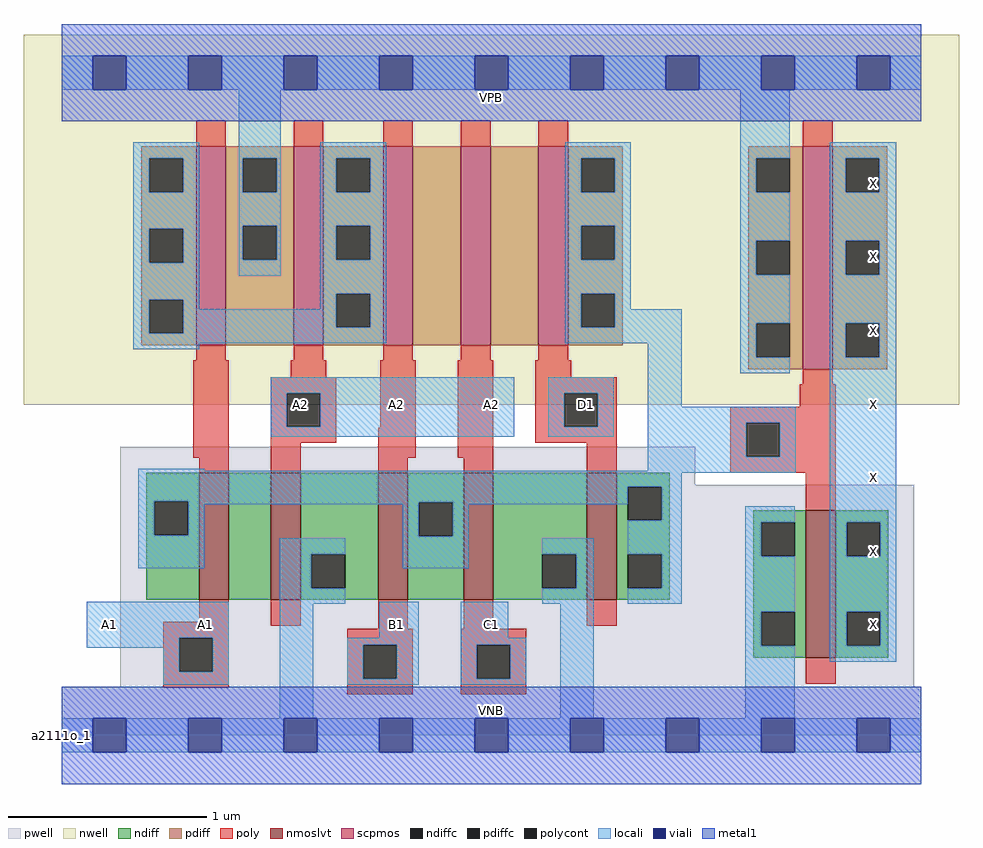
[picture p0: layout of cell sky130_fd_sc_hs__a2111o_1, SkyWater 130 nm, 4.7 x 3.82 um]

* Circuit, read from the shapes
.subckt sky130_fd_sc_hs__a2111o_1 A1 A2 B1 C1 D1 VGND VNB VPB VPWR X
XM1 n1 A1 n2 VNB sky130_fd_pr__nfet_01v8_lvt w=0.64 l=0.15
XM2 VGND A2 n1 VNB sky130_fd_pr__nfet_01v8_lvt w=0.64 l=0.15
XM3 n2 B1 VGND VNB sky130_fd_pr__nfet_01v8_lvt w=0.64 l=0.15
XM4 VGND C1 n2 VNB sky130_fd_pr__nfet_01v8_lvt w=0.64 l=0.15
XM5 n2 D1 VGND VNB sky130_fd_pr__nfet_01v8_lvt w=0.64 l=0.15
XM6 X n2 VGND VNB sky130_fd_pr__nfet_01v8_lvt w=0.74 l=0.15
XM7 VPWR A1 n3 VPB sky130_fd_pr__pfet_01v8 w=1 l=0.15
XM8 n3 A2 VPWR VPB sky130_fd_pr__pfet_01v8 w=1 l=0.15
XM9 n4 B1 n3 VPB sky130_fd_pr__pfet_01v8 w=1 l=0.15
XM10 n5 C1 n4 VPB sky130_fd_pr__pfet_01v8 w=1 l=0.15
XM11 n2 D1 n5 VPB sky130_fd_pr__pfet_01v8 w=1 l=0.15
XM12 X n2 VPWR VPB sky130_fd_pr__pfet_01v8 w=1.12 l=0.15
.ends

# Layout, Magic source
magic
tech sky130A
magscale 1 2
<< nwell >>
rect -38 332 902 704
<< pwell >>
rect 59 252 637 290
rect 59 49 857 252
rect 0 0 864 49
<< scpmos >>
rect 135 392 165 592
rect 233 392 263 592
rect 323 392 353 592
rect 401 392 431 592
rect 479 392 509 592
rect 745 368 775 592
<< nmoslvt >>
rect 138 136 168 264
rect 210 136 240 264
rect 318 136 348 264
rect 404 136 434 264
rect 528 136 558 264
rect 748 78 778 226
<< ndiff >>
rect 85 235 138 264
rect 85 201 93 235
rect 127 201 138 235
rect 85 136 138 201
rect 168 136 210 264
rect 240 182 318 264
rect 240 148 251 182
rect 285 148 318 182
rect 240 136 318 148
rect 348 234 404 264
rect 348 200 359 234
rect 393 200 404 234
rect 348 136 404 200
rect 434 182 528 264
rect 434 148 483 182
rect 517 148 528 182
rect 434 136 528 148
rect 558 250 611 264
rect 558 216 569 250
rect 603 216 611 250
rect 558 182 611 216
rect 558 148 569 182
rect 603 148 611 182
rect 558 136 611 148
rect 695 214 748 226
rect 695 180 703 214
rect 737 180 748 214
rect 695 124 748 180
rect 695 90 703 124
rect 737 90 748 124
rect 695 78 748 90
rect 778 214 831 226
rect 778 180 789 214
rect 823 180 831 214
rect 778 124 831 180
rect 778 90 789 124
rect 823 90 831 124
rect 778 78 831 90
<< pdiff >>
rect 80 580 135 592
rect 80 546 88 580
rect 122 546 135 580
rect 80 509 135 546
rect 80 475 88 509
rect 122 475 135 509
rect 80 438 135 475
rect 80 404 88 438
rect 122 404 135 438
rect 80 392 135 404
rect 165 580 233 592
rect 165 546 182 580
rect 216 546 233 580
rect 165 512 233 546
rect 165 478 182 512
rect 216 478 233 512
rect 165 392 233 478
rect 263 580 323 592
rect 263 546 276 580
rect 310 546 323 580
rect 263 512 323 546
rect 263 478 276 512
rect 310 478 323 512
rect 263 444 323 478
rect 263 410 276 444
rect 310 410 323 444
rect 263 392 323 410
rect 353 392 401 592
rect 431 392 479 592
rect 509 580 564 592
rect 509 546 522 580
rect 556 546 564 580
rect 509 512 564 546
rect 509 478 522 512
rect 556 478 564 512
rect 509 444 564 478
rect 509 410 522 444
rect 556 410 564 444
rect 509 392 564 410
rect 690 580 745 592
rect 690 546 698 580
rect 732 546 745 580
rect 690 497 745 546
rect 690 463 698 497
rect 732 463 745 497
rect 690 414 745 463
rect 690 380 698 414
rect 732 380 745 414
rect 690 368 745 380
rect 775 580 830 592
rect 775 546 788 580
rect 822 546 830 580
rect 775 497 830 546
rect 775 463 788 497
rect 822 463 830 497
rect 775 414 830 463
rect 775 380 788 414
rect 822 380 830 414
rect 775 368 830 380
<< ndiffc >>
rect 93 201 127 235
rect 251 148 285 182
rect 359 200 393 234
rect 483 148 517 182
rect 569 216 603 250
rect 569 148 603 182
rect 703 180 737 214
rect 703 90 737 124
rect 789 180 823 214
rect 789 90 823 124
<< pdiffc >>
rect 88 546 122 580
rect 88 475 122 509
rect 88 404 122 438
rect 182 546 216 580
rect 182 478 216 512
rect 276 546 310 580
rect 276 478 310 512
rect 276 410 310 444
rect 522 546 556 580
rect 522 478 556 512
rect 522 410 556 444
rect 698 546 732 580
rect 698 463 732 497
rect 698 380 732 414
rect 788 546 822 580
rect 788 463 822 497
rect 788 380 822 414
<< poly >>
rect 135 592 165 618
rect 233 592 263 618
rect 323 592 353 618
rect 401 592 431 618
rect 479 592 509 618
rect 745 592 775 618
rect 135 377 165 392
rect 233 377 263 392
rect 323 377 353 392
rect 401 377 431 392
rect 479 377 509 392
rect 132 279 168 377
rect 230 360 266 377
rect 138 264 168 279
rect 210 344 276 360
rect 210 310 226 344
rect 260 310 276 344
rect 210 294 276 310
rect 320 309 356 377
rect 210 264 240 294
rect 318 279 356 309
rect 398 279 434 377
rect 476 360 512 377
rect 476 344 558 360
rect 745 353 775 368
rect 476 310 505 344
rect 539 310 558 344
rect 742 330 778 353
rect 476 294 558 310
rect 318 264 348 279
rect 404 264 434 279
rect 528 264 558 294
rect 672 314 778 330
rect 672 280 688 314
rect 722 280 778 314
rect 672 264 778 280
rect 748 226 778 264
rect 138 114 168 136
rect 102 98 168 114
rect 210 110 240 136
rect 318 107 348 136
rect 404 107 434 136
rect 528 110 558 136
rect 102 64 118 98
rect 152 64 168 98
rect 102 48 168 64
rect 287 91 353 107
rect 287 57 303 91
rect 337 57 353 91
rect 287 41 353 57
rect 401 91 467 107
rect 401 57 417 91
rect 451 57 467 91
rect 401 41 467 57
rect 748 52 778 78
<< polycont >>
rect 226 310 260 344
rect 505 310 539 344
rect 688 280 722 314
rect 118 64 152 98
rect 303 57 337 91
rect 417 57 451 91
<< locali >>
rect 0 649 31 683
rect 65 649 127 683
rect 161 649 223 683
rect 257 649 319 683
rect 353 649 415 683
rect 449 649 511 683
rect 545 649 607 683
rect 641 649 703 683
rect 737 649 799 683
rect 833 649 864 683
rect 72 580 138 596
rect 72 546 88 580
rect 122 546 138 580
rect 72 509 138 546
rect 72 475 88 509
rect 122 475 138 509
rect 72 438 138 475
rect 178 580 220 649
rect 178 546 182 580
rect 216 546 220 580
rect 178 512 220 546
rect 178 478 182 512
rect 216 478 220 512
rect 178 462 220 478
rect 260 580 326 596
rect 260 546 276 580
rect 310 546 326 580
rect 260 512 326 546
rect 260 478 276 512
rect 310 478 326 512
rect 72 404 88 438
rect 122 428 138 438
rect 260 444 326 478
rect 260 428 276 444
rect 122 410 276 428
rect 310 410 326 444
rect 122 404 326 410
rect 72 394 326 404
rect 506 580 572 596
rect 506 546 522 580
rect 556 546 572 580
rect 506 512 572 546
rect 506 478 522 512
rect 556 478 572 512
rect 506 444 572 478
rect 506 410 522 444
rect 556 428 572 444
rect 682 580 732 649
rect 682 546 698 580
rect 682 497 732 546
rect 682 463 698 497
rect 556 410 623 428
rect 506 394 623 410
rect 72 388 138 394
rect 210 344 455 360
rect 210 310 226 344
rect 260 310 455 344
rect 210 300 455 310
rect 489 344 555 360
rect 489 310 505 344
rect 539 310 555 344
rect 489 300 555 310
rect 589 330 623 394
rect 682 414 732 463
rect 682 380 698 414
rect 682 364 732 380
rect 772 580 839 596
rect 772 546 788 580
rect 822 546 839 580
rect 772 497 839 546
rect 772 463 788 497
rect 822 463 839 497
rect 772 414 839 463
rect 772 380 788 414
rect 822 380 839 414
rect 589 314 738 330
rect 589 280 688 314
rect 722 280 738 314
rect 77 266 143 268
rect 589 266 738 280
rect 77 264 738 266
rect 77 250 623 264
rect 77 235 569 250
rect 77 201 93 235
rect 127 234 569 235
rect 127 232 359 234
rect 127 201 143 232
rect 77 168 143 201
rect 343 200 359 232
rect 393 232 569 234
rect 393 200 409 232
rect 219 182 285 198
rect 219 148 251 182
rect 343 168 409 200
rect 603 216 623 250
rect 483 182 535 198
rect 25 98 168 134
rect 25 88 118 98
rect 102 64 118 88
rect 152 64 168 98
rect 102 51 168 64
rect 219 132 285 148
rect 517 148 535 182
rect 219 17 253 132
rect 319 98 359 134
rect 287 91 359 98
rect 287 57 303 91
rect 337 57 359 91
rect 287 51 359 57
rect 401 98 449 134
rect 483 132 535 148
rect 569 182 623 216
rect 603 148 623 182
rect 569 132 623 148
rect 687 214 737 230
rect 687 180 703 214
rect 401 91 467 98
rect 401 57 417 91
rect 451 57 467 91
rect 401 51 467 57
rect 501 17 535 132
rect 687 124 737 180
rect 687 90 703 124
rect 687 17 737 90
rect 772 214 839 380
rect 772 180 789 214
rect 823 180 839 214
rect 772 124 839 180
rect 772 90 789 124
rect 823 90 839 124
rect 772 74 839 90
rect 0 -17 31 17
rect 65 -17 127 17
rect 161 -17 223 17
rect 257 -17 319 17
rect 353 -17 415 17
rect 449 -17 511 17
rect 545 -17 607 17
rect 641 -17 703 17
rect 737 -17 799 17
rect 833 -17 864 17
<< viali >>
rect 31 649 65 683
rect 127 649 161 683
rect 223 649 257 683
rect 319 649 353 683
rect 415 649 449 683
rect 511 649 545 683
rect 607 649 641 683
rect 703 649 737 683
rect 799 649 833 683
rect 31 -17 65 17
rect 127 -17 161 17
rect 223 -17 257 17
rect 319 -17 353 17
rect 415 -17 449 17
rect 511 -17 545 17
rect 607 -17 641 17
rect 703 -17 737 17
rect 799 -17 833 17
<< metal1 >>
rect 0 683 864 715
rect 0 649 31 683
rect 65 649 127 683
rect 161 649 223 683
rect 257 649 319 683
rect 353 649 415 683
rect 449 649 511 683
rect 545 649 607 683
rect 641 649 703 683
rect 737 649 799 683
rect 833 649 864 683
rect 0 617 864 649
rect 0 17 864 49
rect 0 -17 31 17
rect 65 -17 127 17
rect 161 -17 223 17
rect 257 -17 319 17
rect 353 -17 415 17
rect 449 -17 511 17
rect 545 -17 607 17
rect 641 -17 703 17
rect 737 -17 799 17
rect 833 -17 864 17
rect 0 -49 864 -17
<< labels >>
rlabel comment s 0 0 0 0 4 a2111o_1
flabel pwell s 0 0 864 49 0 FreeSans 200 0 0 0 VNB
port 7 nsew ground bidirectional
flabel nwell s 0 617 864 666 0 FreeSans 200 0 0 0 VPB
port 8 nsew power bidirectional
flabel metal1 s 0 617 864 666 0 FreeSans 340 0 0 0 VPWR
port 9 nsew power bidirectional
flabel metal1 s 0 0 864 49 0 FreeSans 340 0 0 0 VGND
port 6 nsew ground bidirectional
flabel locali s 799 94 833 128 0 FreeSans 340 0 0 0 X
port 10 nsew signal output
flabel locali s 799 168 833 202 0 FreeSans 340 0 0 0 X
port 10 nsew signal output
flabel locali s 799 242 833 276 0 FreeSans 340 0 0 0 X
port 10 nsew signal output
flabel locali s 799 316 833 350 0 FreeSans 340 0 0 0 X
port 10 nsew signal output
flabel locali s 799 390 833 424 0 FreeSans 340 0 0 0 X
port 10 nsew signal output
flabel locali s 799 464 833 498 0 FreeSans 340 0 0 0 X
port 10 nsew signal output
flabel locali s 799 538 833 572 0 FreeSans 340 0 0 0 X
port 10 nsew signal output
flabel locali s 415 94 449 128 0 FreeSans 340 0 0 0 C1
port 4 nsew signal input
flabel locali s 319 94 353 128 0 FreeSans 340 0 0 0 B1
port 3 nsew signal input
flabel locali s 223 316 257 350 0 FreeSans 340 0 0 0 A2
port 2 nsew signal input
flabel locali s 319 316 353 350 0 FreeSans 340 0 0 0 A2
port 2 nsew signal input
flabel locali s 415 316 449 350 0 FreeSans 340 0 0 0 A2
port 2 nsew signal input
flabel locali s 31 94 65 128 0 FreeSans 340 0 0 0 A1
port 1 nsew signal input
flabel locali s 127 94 161 128 0 FreeSans 340 0 0 0 A1
port 1 nsew signal input
flabel locali s 511 316 545 350 0 FreeSans 340 0 0 0 D1
port 5 nsew signal input
<< properties >>
string LEFsite unit
string LEFclass CORE
string FIXED_BBOX 0 0 864 666
string GDS_FILE $PDKPATH/libs.ref/sky130_fd_sc_hs/gds/sky130_fd_sc_hs.gds
string LEFsymmetry X Y
string GDS_END 61552
string GDS_START 52624
<< end >>
